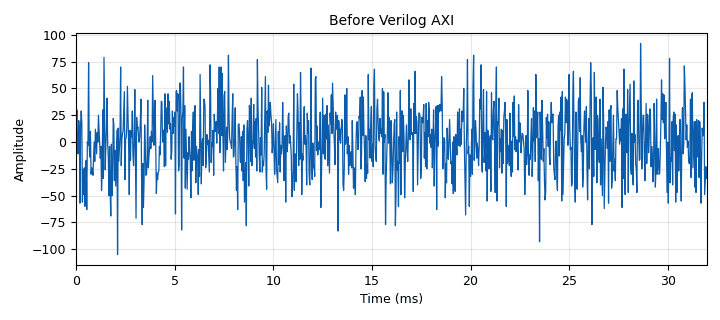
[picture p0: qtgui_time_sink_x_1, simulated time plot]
options:
  parameters:
    author: Bowen Hu
    description: This is a demo of verilog_axi_ii block
    generate_options: qt_gui
    id: verilog_axi_ii_demo
    output_language: python
    title: verilog_axi_ii demo
  states: {}

blocks:
- name: samp_rate
  id: variable
  parameters:
    value: '32000'
  states: {}
- name: analog_fastnoise_source_x_0
  id: analog_fastnoise_source_x
  parameters:
    amp: '32'
    noise_type: analog.GR_GAUSSIAN
    samples: '8192'
    seed: '0'
    type: int
  states: {}
- name: blocks_int_to_float_0
  id: blocks_int_to_float
  parameters:
    scale: '1'
  states: {}
- name: blocks_int_to_float_1
  id: blocks_int_to_float
  parameters:
    scale: '1'
  states: {}
- name: blocks_throttle_0
  id: blocks_throttle
  parameters:
    samples_per_second: samp_rate
    type: int
  states: {}
- name: qtgui_time_sink_x_0
  id: qtgui_time_sink_x
  parameters:
    autoscale: 'True'
    grid: 'True'
    label1: ''
    name: '"After Verilog AXI"'
    size: '1024'
    srate: samp_rate
    type: float
    ymax: '256'
    ymin: '-256'
  states: {}
- name: qtgui_time_sink_x_1
  id: qtgui_time_sink_x
  parameters:
    autoscale: 'True'
    grid: 'True'
    label1: ''
    name: '"Before Verilog AXI"'
    size: '1024'
    srate: samp_rate
    type: float
    ymax: '256'
    ymin: '-256'
  states: {}
- name: verilog_axi_xx_0
  id: verilog_axi_xx
  parameters:
    IO_ratio: '1.0'
    file: examples/double/double_axi.v
    module_flag: '0'
    overwrite: 'True'
    skip_output_items: '0'
    type: int
    verilator_options: ''
  states: {}

connections:
- [analog_fastnoise_source_x_0, '0', blocks_throttle_0, '0']
- [blocks_int_to_float_0, '0', qtgui_time_sink_x_1, '0']
- [blocks_int_to_float_1, '0', qtgui_time_sink_x_0, '0']
- [blocks_throttle_0, '0', blocks_int_to_float_0, '0']
- [blocks_throttle_0, '0', verilog_axi_xx_0, '0']
- [verilog_axi_xx_0, '0', blocks_int_to_float_1, '0']

metadata:
  file_format: 1
